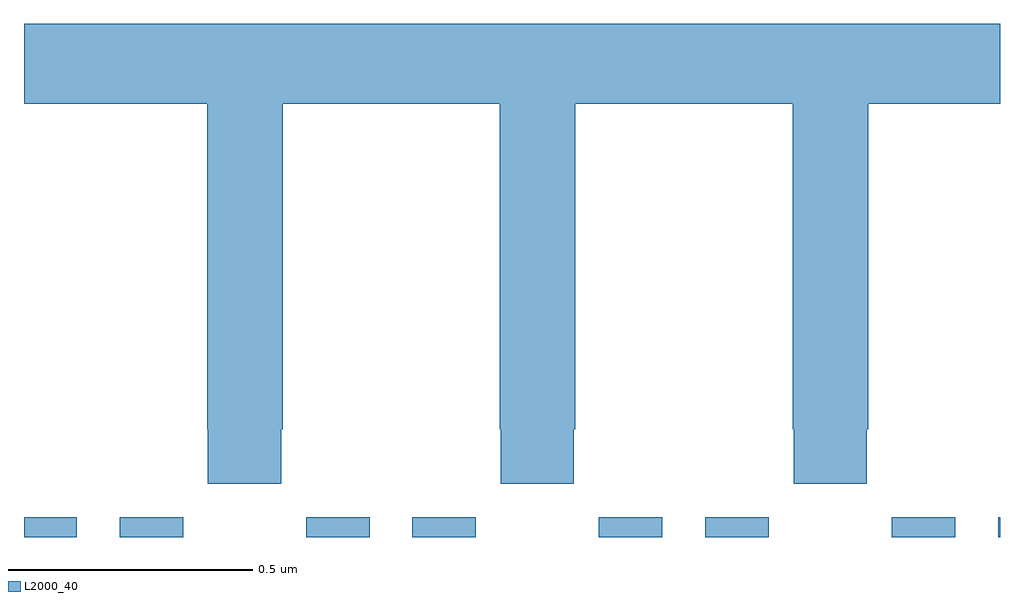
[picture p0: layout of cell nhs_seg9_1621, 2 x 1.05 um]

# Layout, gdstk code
import gdstk
lib = gdstk.Library(unit=1e-6, precision=1e-09)
def R(c, l, rs):  # rectangles x0, y0, x1, y1
    for r in rs: c.add(gdstk.rectangle(r[:2], r[2:], *l))
def P(c, l, *ps):  # polygons
    for p in ps: c.add(gdstk.Polygon(p, *l))
L2000_40 = (2000, 40)

nhs_seg9_1621 = lib.new_cell('nhs_seg9_1621')
R(nhs_seg9_1621, L2000_40, [(130,1227.5,130.108,1227.541), (130.196,1227.5,130.326,1227.541), (130.578,1227.5,130.708,1227.541), (130.796,1227.5,130.926,1227.541), (131.178,1227.5,131.308,1227.541), (131.396,1227.5,131.526,1227.541), (131.778,1227.5,131.908,1227.541), (131.996,1227.5,132,1227.541)])
P(nhs_seg9_1621, L2000_40, [(130.527,1227.721),(130.53,1227.721),(130.53,1228.388),(130.975,1228.388),(130.975,1227.721),(130.977,1227.721),(130.977,1227.609),(131.127,1227.609),(131.127,1227.721),(131.13,1227.721),(131.13,1228.388),(131.575,1228.388),(131.575,1227.721),(131.577,1227.721),(131.577,1227.609),(131.727,1227.609),(131.727,1227.721),(131.73,1227.721),(131.73,1228.388),(132,1228.388),(132,1228.552),(130,1228.552),(130,1228.388),(130.375,1228.388),(130.375,1227.721),(130.377,1227.721),(130.377,1227.609),(130.527,1227.609)])

lib.write_gds('nhs_seg9_1621.gds')
